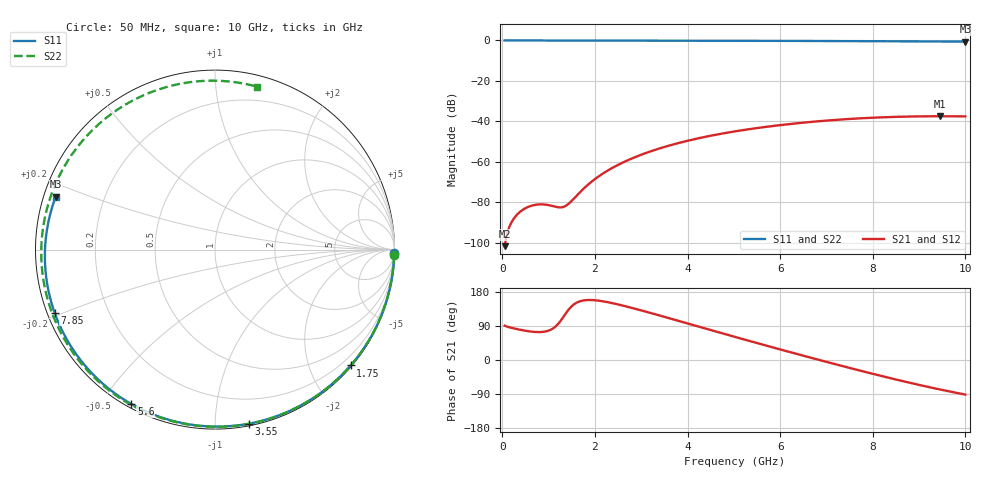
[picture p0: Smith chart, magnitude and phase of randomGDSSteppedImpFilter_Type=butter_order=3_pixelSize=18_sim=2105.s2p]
! freq	dB(S11)	phase(S11)	dB(S12)	phase(S12)
!  dB(S21)	phase(S21)	dB(S22)	phase(S22)
!S-par simulation data
#  GHz  S  DB  R 50
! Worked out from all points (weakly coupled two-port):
!   200 points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, 50 MHz to 10 GHz, reference 50 ohm
!   highest |S21| = -37.51 dB at 9.45 GHz (marker M1); lowest = -101.8 dB at 50 MHz (marker M2)
!   lowest |S11| = -0.6 dB at 10 GHz (marker M3), VSWR 29.83, Z = 1.72 + j8.09 ohm
!   |S11| at or under -10 dB: nowhere
!   |S22| runs from -0.6 to 0.0 dB; largest |S21 - S12| = 0
!   S11 on the Smith chart (normalised r, x): 50 MHz: open; 1.75 GHz: 0.02, -2.71; 3.55 GHz: 0.01, -1.21; 5.6 GHz: 0.01, -0.60; 7.85 GHz: 0.02, -0.19; 10 GHz: 0.03, +0.16
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0.05  -0.00 -1.1  -101.80 90.5  -101.80 90.5  -0.01 -1.6
0.4  -0.02 -9.4  -84.49 79.5  -84.49 79.5  -0.02 -13.5
0.7  -0.02 -16.4  -81.40 74.1  -81.40 74.1  -0.03 -23.7
1.45  -0.04 -33.7  -80.45 135.5  -80.45 135.5  -0.06 -48.3
1.5  -0.04 -34.8  -79.34 142.0  -79.34 142.0  -0.06 -49.9
1.75  -0.05 -40.5  -73.46 157.1  -73.46 157.1  -0.07 -57.8
2.05  -0.06 -47.2  -67.77 157.1  -67.77 157.1  -0.08 -67.1
2.45  -0.07 -55.9  -62.16 148.1  -62.16 148.1  -0.10 -79.1
2.9  -0.08 -65.5  -57.44 134.2  -57.44 134.2  -0.11 -92.2
3.4  -0.10 -75.9  -53.40 117.4  -53.40 117.4  -0.13 -106.2
3.55  -0.10 -79.0  -52.37 112.2  -52.37 112.2  -0.14 -110.4
4.3  -0.13 -93.9  -48.09 86.0  -48.09 86.0  -0.17 -130.3
5.05  -0.16 -108.2  -44.89 60.1  -44.89 60.1  -0.21 -149.5
5.6  -0.19 -118.4  -43.04 41.3  -43.04 41.3  -0.24 -163.3
6.15  -0.22 -128.4  -41.51 22.9  -41.51 22.9  -0.28 -177.2
6.7  -0.26 -138.2  -40.24 4.8  -40.24 4.8  -0.31 168.8
7.25  -0.30 -147.9  -39.22 -13.0  -39.22 -13.0  -0.36 154.5
7.85  -0.35 -158.6  -38.39 -31.9  -38.39 -31.9  -0.40 138.5
8.35  -0.40 -167.5  -37.91 -47.1  -37.91 -47.1  -0.44 124.6
8.9  -0.46 -177.5  -37.61 -62.9  -37.61 -62.9  -0.48 108.8
9.45  -0.52 172.2  -37.51 -77.7  -37.51 -77.7  -0.52 92.4
10  -0.58 161.6  -37.58 -91.3  -37.58 -91.3  -0.56 75.6
